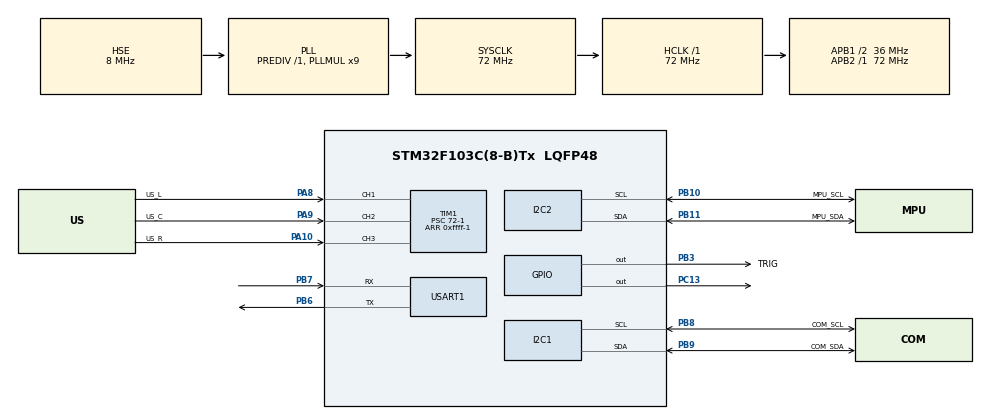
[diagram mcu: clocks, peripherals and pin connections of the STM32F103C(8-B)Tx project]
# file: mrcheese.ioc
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FREERTOS.Tasks01=UltrasonicTask,24,128,StartUltrasonicTask,Default,NULL,Dynamic,NULL,NULL
Mcu.Family=STM32F1
Mcu.Name=STM32F103C(8-B)Tx
Mcu.Package=LQFP48
NVIC.PriorityGroup=NVIC_PRIORITYGROUP_4
NVIC.TIM1_CC_IRQn=true\:5\:0\:false\:false\:true\:true\:true\:true\:true
NVIC.TIM4_IRQn=true\:15\:0\:false\:false\:true\:false\:false\:true\:true
NVIC.TimeBase=TIM4_IRQn
NVIC.TimeBaseIP=TIM4
PA10.GPIO_Label=US_R
PA10.Signal=S_TIM1_CH3
PA13.Mode=Serial_Wire
PA13.Signal=SYS_JTMS-SWDIO
PA14.Mode=Serial_Wire
PA14.Signal=SYS_JTCK-SWCLK
PA8.GPIO_Label=US_L
PA8.Signal=S_TIM1_CH1
PA9.GPIO_Label=US_C
PA9.Signal=S_TIM1_CH2
PB10.GPIO_Label=MPU_SCL
PB10.Mode=I2C
PB10.Signal=I2C2_SCL
PB11.GPIO_Label=MPU_SDA
PB11.Mode=I2C
PB11.Signal=I2C2_SDA
PB3.GPIO_Label=TRIG
PB3.Signal=GPIO_Output
PB6.Mode=Asynchronous
PB6.Signal=USART1_TX
PB7.Mode=Asynchronous
PB7.Signal=USART1_RX
PB8.GPIO_Label=COM_SCL
PB8.Mode=I2C
PB8.Signal=I2C1_SCL
PB9.GPIO_Label=COM_SDA
PB9.Mode=I2C
PB9.Signal=I2C1_SDA
PC13-TAMPER-RTC.Signal=GPIO_Output
PC14-OSC32_IN.GPIO_Label=LSE_IN
PC14-OSC32_IN.Mode=LSE-External-Oscillator
PC14-OSC32_IN.Signal=RCC_OSC32_IN
PC15-OSC32_OUT.GPIO_Label=LSE_OUT
PC15-OSC32_OUT.Mode=LSE-External-Oscillator
PC15-OSC32_OUT.Signal=RCC_OSC32_OUT
PD0-OSC_IN.GPIO_Label=HSE_IN
PD0-OSC_IN.Mode=HSE-External-Oscillator
PD0-OSC_IN.Signal=RCC_OSC_IN
PD1-OSC_OUT.GPIO_Label=HSE_OUT
PD1-OSC_OUT.Mode=HSE-External-Oscillator
PD1-OSC_OUT.Signal=RCC_OSC_OUT
ProjectManager.HeapSize=0x200
ProjectManager.StackSize=0x400
ProjectManager.TargetToolchain=Makefile
RCC.AHBFreq_Value=72000000
RCC.APB1CLKDivider=RCC_HCLK_DIV2
RCC.APB1Freq_Value=36000000
RCC.APB1TimFreq_Value=72000000
RCC.APB2Freq_Value=72000000
RCC.APB2TimFreq_Value=72000000
RCC.HCLKFreq_Value=72000000
RCC.PLLMUL=RCC_PLL_MUL9
RCC.PLLSourceVirtual=RCC_PLLSOURCE_HSE
RCC.SYSCLKFreq_VALUE=72000000
RCC.SYSCLKSource=RCC_SYSCLKSOURCE_PLLCLK
RCC.USBFreq_Value=48000000
RCC.USBPrescaler=RCC_USBCLKSOURCE_PLL_DIV1_5
SH.S_TIM1_CH1.0=TIM1_CH1,Input_Capture1_from_TI1
SH.S_TIM1_CH2.0=TIM1_CH2,Input_Capture2_from_TI2
SH.S_TIM1_CH3.0=TIM1_CH3,Input_Capture3_from_TI3
TIM1.AutoReloadPreload=TIM_AUTORELOAD_PRELOAD_DISABLE
TIM1.Channel-Input_Capture1_from_TI1=TIM_CHANNEL_1
TIM1.Channel-Input_Capture2_from_TI2=TIM_CHANNEL_2
TIM1.Channel-Input_Capture3_from_TI3=TIM_CHANNEL_3
TIM1.Period=0xffff-1
TIM1.Prescaler=72-1
USART1.VirtualMode=VM_ASYNC
VP_FREERTOS_VS_CMSIS_V2.Mode=CMSIS_V2
VP_SYS_VS_tim4.Mode=TIM4
VP_TIM1_VS_ClockSourceINT.Mode=Internal
board=custom

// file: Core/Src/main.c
/* USER CODE BEGIN Header */
/**
  ******************************************************************************
  * @file           : main.c
  * @brief          : Main program body
  ******************************************************************************
  * @attention
  *
  * Copyright (c) 2023 STMicroelectronics.
  * All rights reserved.
  *
  * This software is licensed under terms that can be found in the LICENSE file
  * in the root directory of this software component.
  * If no LICENSE file comes with this software, it is provided AS-IS.
  *
  ******************************************************************************
  */
/* USER CODE END Header */
#include "main.h"
#include "cmsis_os.h"
#include "i2c.h"
#include "tim.h"
#include "usart.h"
#include "gpio.h"

/* USER CODE BEGIN Includes */
#include "sensors/TCS3200.h"
#include "sensors/MPU6050.h"
#include <stdint.h>
/* USER CODE END Includes */

void SystemClock_Config(void);
void MX_FREERTOS_Init(void);
/* USER CODE BEGIN PFP */

int _write(int file, char *ptr, int len)
{
    HAL_UART_Transmit(&huart1, (uint8_t*)ptr, len, HAL_MAX_DELAY);
    return len;
}

/* USER CODE END PFP */

int main(void)
{

  /* MCU Configuration--------------------------------------------------------*/

  /* Reset of all peripherals, Initializes the Flash interface and the Systick. */
  HAL_Init();

  /* Configure the system clock */
  SystemClock_Config();

  /* Initialize all configured peripherals */
  MX_GPIO_Init();
  MX_I2C1_Init();
  MX_I2C2_Init();
  MX_TIM1_Init();
  MX_USART1_UART_Init();
  /* USER CODE BEGIN 2 */
  HAL_TIM_IC_Start_IT(&htim1, TIM_CHANNEL_1);

  // initialize sensors
  MPU6050_Config();

  /* USER CODE END 2 */

  /* Init scheduler */
  osKernelInitialize();  /* Call init function for freertos objects (in freertos.c) */
  MX_FREERTOS_Init();

  /* Start scheduler */
  osKernelStart();

  /* We should never get here as control is now taken by the scheduler */
  /* Infinite loop */
  while (1)
  {

  }
}

void SystemClock_Config(void)
{
  RCC_OscInitTypeDef RCC_OscInitStruct = {0};
  RCC_ClkInitTypeDef RCC_ClkInitStruct = {0};

  /** Initializes the RCC Oscillators according to the specified parameters
  * in the RCC_OscInitTypeDef structure.
  */
  RCC_OscInitStruct.OscillatorType = RCC_OSCILLATORTYPE_HSE;
  RCC_OscInitStruct.HSEState = RCC_HSE_ON;
  RCC_OscInitStruct.HSEPredivValue = RCC_HSE_PREDIV_DIV1;
  RCC_OscInitStruct.HSIState = RCC_HSI_ON;
  RCC_OscInitStruct.PLL.PLLState = RCC_PLL_ON;
  RCC_OscInitStruct.PLL.PLLSource = RCC_PLLSOURCE_HSE;
  RCC_OscInitStruct.PLL.PLLMUL = RCC_PLL_MUL9;
  if (HAL_RCC_OscConfig(&RCC_OscInitStruct) != HAL_OK)
  {
    Error_Handler();
  }

  /** Initializes the CPU, AHB and APB buses clocks
  */
  RCC_ClkInitStruct.ClockType = RCC_CLOCKTYPE_HCLK|RCC_CLOCKTYPE_SYSCLK
                              |RCC_CLOCKTYPE_PCLK1|RCC_CLOCKTYPE_PCLK2;
  RCC_ClkInitStruct.SYSCLKSource = RCC_SYSCLKSOURCE_PLLCLK;
  RCC_ClkInitStruct.AHBCLKDivider = RCC_SYSCLK_DIV1;
  RCC_ClkInitStruct.APB1CLKDivider = RCC_HCLK_DIV2;
  RCC_ClkInitStruct.APB2CLKDivider = RCC_HCLK_DIV1;

  if (HAL_RCC_ClockConfig(&RCC_ClkInitStruct, FLASH_LATENCY_2) != HAL_OK)
  {
    Error_Handler();
  }
}

void HAL_TIM_PeriodElapsedCallback(TIM_HandleTypeDef *htim)
{
  if (htim->Instance == TIM4) {
    HAL_IncTick();
  }
}

void Error_Handler(void)
{
  __disable_irq();
  while (1)
  {
  }
}

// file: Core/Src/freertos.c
/* USER CODE BEGIN Header */
/**
  ******************************************************************************
  * File Name          : freertos.c
  * Description        : Code for freertos applications
  ******************************************************************************
  * @attention
  *
  * Copyright (c) 2023 STMicroelectronics.
  * All rights reserved.
  *
  * This software is licensed under terms that can be found in the LICENSE file
  * in the root directory of this software component.
  * If no LICENSE file comes with this software, it is provided AS-IS.
  *
  ******************************************************************************
  */
/* USER CODE END Header */

#include "FreeRTOS.h"
#include "task.h"
#include "main.h"
#include "cmsis_os.h"

/* USER CODE BEGIN Includes */
#include "tim.h"
#include "sensors/TCS3200.h"
/* USER CODE END Includes */

/* Definitions for UltrasonicTask */
osThreadId_t UltrasonicTaskHandle;
const osThreadAttr_t UltrasonicTask_attributes = {
  .name = "UltrasonicTask",
  .stack_size = 128 * 4,
  .priority = (osPriority_t) osPriorityNormal,
};

void StartUltrasonicTask(void *argument);

void MX_FREERTOS_Init(void); /* (MISRA C 2004 rule 8.1) */

void MX_FREERTOS_Init(void) {

  /* Create the thread(s) */
  /* creation of UltrasonicTask */
  UltrasonicTaskHandle = osThreadNew(StartUltrasonicTask, NULL, &UltrasonicTask_attributes);

}

/* USER CODE BEGIN Header_StartUltrasonicTask */

const double R = 700;
const double H = 1.00;
volatile double Q = 10;
volatile double P = 0;
volatile double U_Hat = 0;
volatile double K = 0;

uint8_t kalman(uint16_t U) {
  K = P*H / (H*P*H+R);
  U_Hat += + K*(U-H*U_Hat);
  P = (1-K*H)*P+Q;
  return U_Hat;
}

/**
  * @brief  Function implementing the UltrasonicTask thread.
  * @param  argument: Not used
  * @retval None
  */
/* USER CODE END Header_StartUltrasonicTask */
void StartUltrasonicTask(void *argument)
{
  /* USER CODE BEGIN StartUltrasonicTask */
  /* Infinite loop */
  for(;;)
  {
    HAL_GPIO_WritePin(TRIG_GPIO_Port, TRIG_Pin, GPIO_PIN_SET);

    osDelay( pdMS_TO_TICKS(1) );

    HAL_GPIO_WritePin(TRIG_GPIO_Port, TRIG_Pin, GPIO_PIN_RESET);

    __HAL_TIM_ENABLE_IT(&htim1, TIM_IT_CC1);

    printf("distance:%i, k-distance:%i \r\n", Distance, kalman(Distance));

    osDelay( pdMS_TO_TICKS(100) );
  }
  /* USER CODE END StartUltrasonicTask */
}
